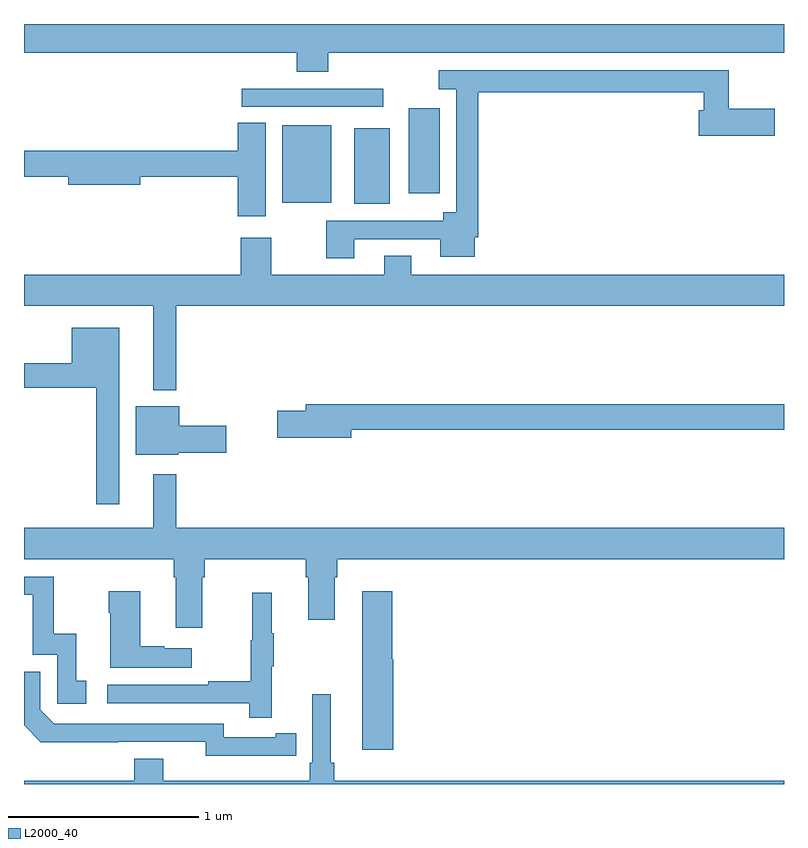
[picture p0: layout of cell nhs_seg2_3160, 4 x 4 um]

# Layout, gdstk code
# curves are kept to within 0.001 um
import gdstk
lib = gdstk.Library(unit=1e-6, precision=1e-09)
def R(c, l, rs):  # rectangles x0, y0, x1, y1
    for r in rs: c.add(gdstk.rectangle(r[:2], r[2:], *l))
def P(c, l, *ps):  # polygons
    for p in ps: c.add(gdstk.Polygon(p, *l))
L2000_40 = (2000, 40)

nhs_seg2_3160 = lib.new_cell('nhs_seg2_3160')
R(nhs_seg2_3160, L2000_40, [(278.738,634.853,278.926,635.251), (278.36,634.859,278.617,635.266), (279.026,634.908,279.187,635.356), (278.145,635.364,278.89,635.46)])
P(nhs_seg2_3160, L2000_40, [(278.6,635.648),(281,635.648),(281,635.8),(277,635.8),(277,635.648),(278.435,635.648),(278.435,635.549),(278.6,635.549)],
  [(278.737,634.668),(279.191,634.668),(279.191,634.574),(279.373,634.574),(279.373,634.678),(279.392,634.678),(279.392,635.44),(280.577,635.44),(280.577,635.347),(280.55,635.347),(280.55,635.213),(280.951,635.213),(280.951,635.355),(280.709,635.355),(280.709,635.556),(279.183,635.556),(279.183,635.456),(279.276,635.456),(279.276,634.81),(279.206,634.81),(279.206,634.764),(278.59,634.764),(278.59,634.566),(278.737,634.566)],
  [(278.272,635.279),(278.126,635.279),(278.126,635.132),(277,635.132),(277,634.996),(277.232,634.996),(277.232,634.954),(277.612,634.954),(277.612,634.996),(278.126,634.996),(278.126,634.788),(278.272,634.788)],
  [(277.801,634.316),(281,634.316),(281,634.48),(279.037,634.48),(279.037,634.579),(278.897,634.579),(278.897,634.48),(278.301,634.48),(278.301,634.675),(278.141,634.675),(278.141,634.48),(277,634.48),(277,634.316),(277.679,634.316),(277.679,633.872),(277.801,633.872)],
  [(277.501,634.201),(277.25,634.201),(277.25,634.015),(277,634.015),(277,633.886),(277.38,633.886),(277.38,633.273),(277.501,633.273)],
  [(278.722,633.664),(281,633.664),(281,633.8),(278.483,633.8),(278.483,633.764),(278.334,633.764),(278.334,633.622),(278.722,633.622)],
  [(277.812,633.544),(278.065,633.544),(278.065,633.686),(277.816,633.686),(277.816,633.787),(277.589,633.787),(277.589,633.533),(277.812,633.533)],
  [(277.801,633.43),(277.679,633.43),(277.679,633.148),(277,633.148),(277,632.984),(277.787,632.984),(277.787,632.888),(277.799,632.888),(277.799,632.622),(277.939,632.622),(277.939,632.888),(277.952,632.888),(277.952,632.984),(278.483,632.984),(278.483,632.888),(278.495,632.888),(278.495,632.664),(278.635,632.664),(278.635,632.888),(278.648,632.888),(278.648,632.984),(281,632.984),(281,633.148),(277.801,633.148)],
  [(277.327,632.343),(277.274,632.343),(277.274,632.59),(277.156,632.59),(277.156,632.892),(277,632.892),(277,632.796),(277.047,632.796),(277.047,632.481),(277.176,632.481),(277.176,632.223),(277.327,632.223)],
  [(277.882,632.515),(277.739,632.515),(277.739,632.525),(277.612,632.525),(277.612,632.815),(277.447,632.815),(277.447,632.702),(277.454,632.702),(277.454,632.411),(277.882,632.411)],
  [(278.944,632.457),(278.939,632.457),(278.939,632.815),(278.78,632.815),(278.78,631.98),(278.944,631.98)],
  [(278.303,632.419),(278.314,632.419),(278.314,632.593),(278.303,632.593),(278.303,632.806),(278.2,632.806),(278.2,632.556),(278.193,632.556),(278.193,632.342),(277.969,632.342),(277.969,632.322),(277.437,632.322),(277.437,632.226),(278.185,632.226),(278.185,632.148),(278.303,632.148)],
  [(278.324,631.95),(278.432,631.95),(278.432,632.066),(278.324,632.066),(278.324,632.046),(278.052,632.046),(278.052,632.118),(277.158,632.118),(277.086,632.19),(277.086,632.391),(277,632.391),(277,632.108),(277.088,632.021),(277.956,632.022),(277.956,631.949)],
  [(281,631.816),(278.633,631.816),(278.633,631.912),(278.614,631.912),(278.614,632.272),(278.517,632.272),(278.517,631.912),(278.504,631.912),(278.504,631.816),(277.732,631.816),(277.732,631.933),(277.58,631.933),(277.58,631.816),(277,631.816),(277,631.8),(281,631.8)])

lib.write_gds('nhs_seg2_3160.gds')
